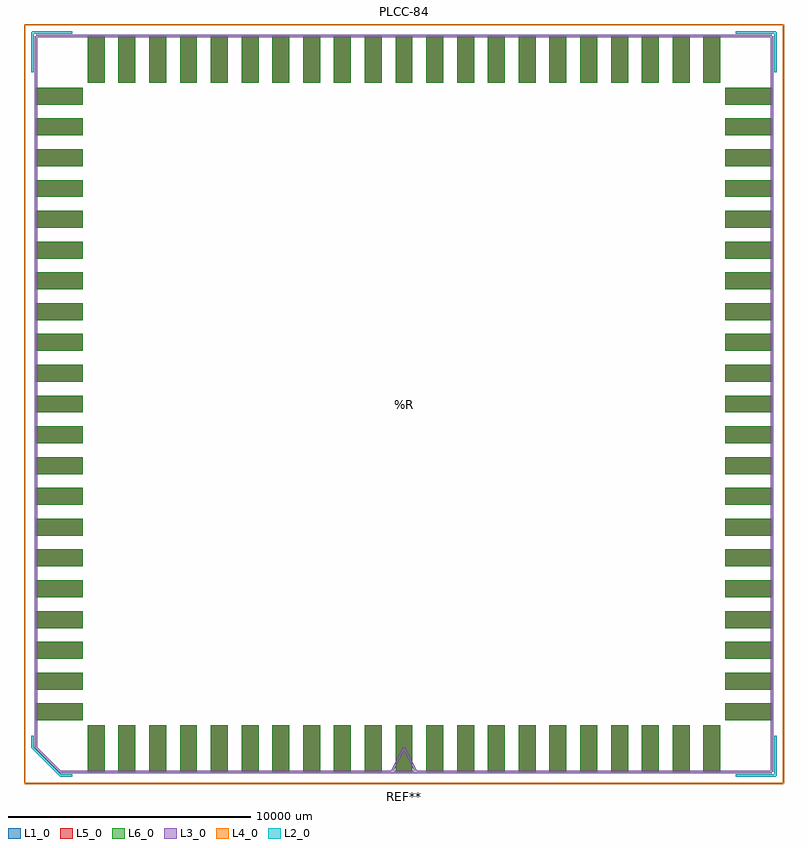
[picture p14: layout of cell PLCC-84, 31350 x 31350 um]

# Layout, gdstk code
import gdstk
lib = gdstk.Library(unit=1e-6, precision=1e-09)
def R(c, l, rs):  # rectangles x0, y0, x1, y1
    for r in rs: c.add(gdstk.rectangle(r[:2], r[2:], *l))
def A(c, l, x, y, w, h, nx, ny, dx, dy):  # array of equal rectangles
    R(c, l, [(x+i*dx, y+j*dy, x+i*dx+w, y+j*dy+h) for i in range(nx) for j in range(ny)])
L1_0 = (1, 0)
L2_0 = (2, 0)
L3_0 = (3, 0)
L4_0 = (4, 0)
L5_0 = (5, 0)
L6_0 = (6, 0)

plcc_84 = lib.new_cell('PLCC-84')
A(plcc_84, L1_0, -13050, -15175, 700, 1925, 21, 2, 1270, 28425)
A(plcc_84, L1_0, -15175, -13050, 1925, 700, 1, 21, 0, 1270)
A(plcc_84, L1_0, 13250, -13050, 1925, 700, 1, 21, 0, 1270)
A(plcc_84, L5_0, -13050, -15175, 700, 1925, 21, 2, 1270, 28425)
A(plcc_84, L5_0, -15175, -13050, 1925, 700, 1, 21, 0, 1270)
A(plcc_84, L5_0, 13250, -13050, 1925, 700, 1, 21, 0, 1270)
A(plcc_84, L6_0, -13050, -15175, 700, 1925, 21, 2, 1270, 28425)
A(plcc_84, L6_0, -15175, -13050, 1925, 700, 1, 21, 0, 1270)
A(plcc_84, L6_0, 13250, -13050, 1925, 700, 1, 21, 0, 1270)
plcc_84.add(gdstk.FlexPath([(-14175,-15175),(-15175,-14175)], 100, ends="flush", simple_path=True, layer=3, datatype=0))  # L3_0
plcc_84.add(gdstk.FlexPath([(-15175,-14175),(-15175,15175)], 100, ends="flush", simple_path=True, layer=3, datatype=0))  # L3_0
plcc_84.add(gdstk.FlexPath([(-15175,15175),(15175,15175)], 100, ends="flush", simple_path=True, layer=3, datatype=0))  # L3_0
plcc_84.add(gdstk.FlexPath([(15175,15175),(15175,-15175)], 100, ends="flush", simple_path=True, layer=3, datatype=0))  # L3_0
plcc_84.add(gdstk.FlexPath([(15175,-15175),(-14175,-15175)], 100, ends="flush", simple_path=True, layer=3, datatype=0))  # L3_0
plcc_84.add(gdstk.FlexPath([(-15650,-15650),(-15650,15650)], 50, ends="flush", simple_path=True, layer=4, datatype=0))  # L4_0
plcc_84.add(gdstk.FlexPath([(-15650,15650),(15650,15650)], 50, ends="flush", simple_path=True, layer=4, datatype=0))  # L4_0
plcc_84.add(gdstk.FlexPath([(15650,15650),(15650,-15650)], 50, ends="flush", simple_path=True, layer=4, datatype=0))  # L4_0
plcc_84.add(gdstk.FlexPath([(15650,-15650),(-15650,-15650)], 50, ends="flush", simple_path=True, layer=4, datatype=0))  # L4_0
plcc_84.add(gdstk.FlexPath([(-500,-15175),(0,-14175)], 100, ends="flush", simple_path=True, layer=3, datatype=0))  # L3_0
plcc_84.add(gdstk.FlexPath([(0,-14175),(500,-15175)], 100, ends="flush", simple_path=True, layer=3, datatype=0))  # L3_0
plcc_84.add(gdstk.FlexPath([(-13675,-15325),(-14175,-15325)], 100, ends="flush", simple_path=True, layer=2, datatype=0))  # L2_0
plcc_84.add(gdstk.FlexPath([(-14175,-15325),(-15325,-14175)], 100, ends="flush", simple_path=True, layer=2, datatype=0))  # L2_0
plcc_84.add(gdstk.FlexPath([(-15325,-14175),(-15325,-13675)], 100, ends="flush", simple_path=True, layer=2, datatype=0))  # L2_0
plcc_84.add(gdstk.FlexPath([(13675,-15325),(15325,-15325)], 100, ends="flush", simple_path=True, layer=2, datatype=0))  # L2_0
plcc_84.add(gdstk.FlexPath([(15325,-15325),(15325,-13675)], 100, ends="flush", simple_path=True, layer=2, datatype=0))  # L2_0
plcc_84.add(gdstk.FlexPath([(-13675,15325),(-15325,15325)], 100, ends="flush", simple_path=True, layer=2, datatype=0))  # L2_0
plcc_84.add(gdstk.FlexPath([(-15325,15325),(-15325,13675)], 100, ends="flush", simple_path=True, layer=2, datatype=0))  # L2_0
plcc_84.add(gdstk.FlexPath([(13675,15325),(15325,15325)], 100, ends="flush", simple_path=True, layer=2, datatype=0))  # L2_0
plcc_84.add(gdstk.FlexPath([(15325,15325),(15325,13675)], 100, ends="flush", simple_path=True, layer=2, datatype=0))  # L2_0
plcc_84.add(gdstk.Label('REF**', (0,-16175), layer=2, texttype=0))
plcc_84.add(gdstk.Label('PLCC-84', (0,16175), layer=3, texttype=0))
plcc_84.add(gdstk.Label('%R', (0,0), layer=3, texttype=0))

lib.write_gds('PLCC-84.gds')
